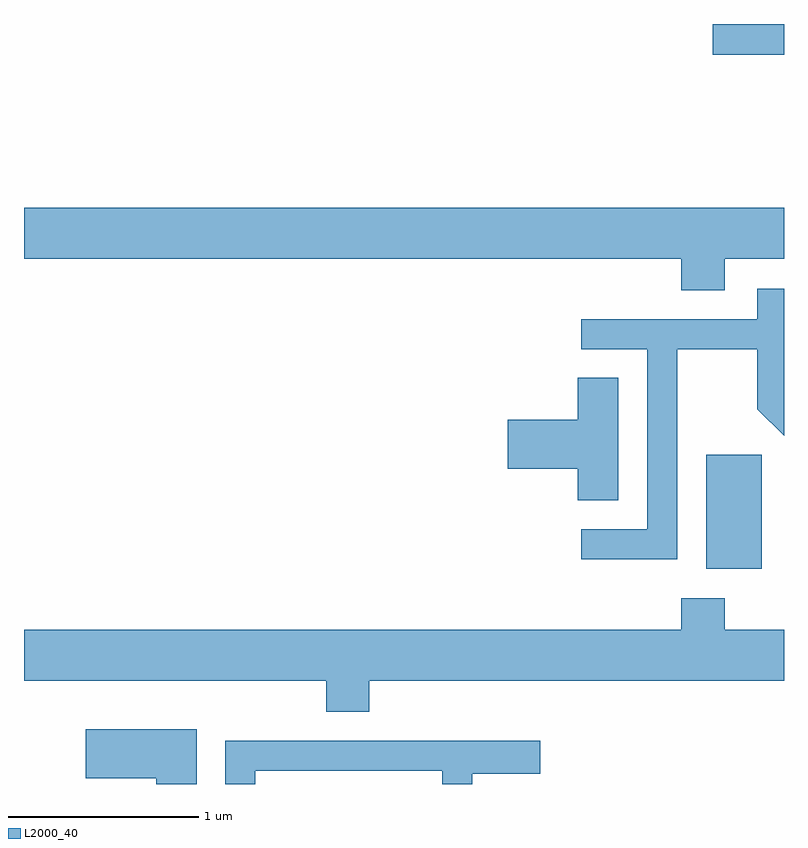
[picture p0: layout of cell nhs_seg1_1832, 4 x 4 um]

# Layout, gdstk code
import gdstk
lib = gdstk.Library(unit=1e-6, precision=1e-09)
def R(c, l, rs):  # rectangles x0, y0, x1, y1
    for r in rs: c.add(gdstk.rectangle(r[:2], r[2:], *l))
def P(c, l, *ps):  # polygons
    for p in ps: c.add(gdstk.Polygon(p, *l))
L2000_40 = (2000, 40)

nhs_seg1_1832 = lib.new_cell('nhs_seg1_1832')
R(nhs_seg1_1832, L2000_40, [(245.201,886.846,245.494,887.444), (245.236,889.551,245.611,889.712)])
P(nhs_seg1_1832, L2000_40, [(245.299,888.476),(245.611,888.476),(245.611,888.744),(241.611,888.744),(241.611,888.476),(245.071,888.476),(245.071,888.311),(245.299,888.311)],
  [(245.049,888.001),(245.471,888.001),(245.471,887.684),(245.611,887.544),(245.611,888.319),(245.471,888.319),(245.471,888.159),(244.543,888.159),(244.543,888.001),(244.891,888.001),(244.891,887.054),(244.543,887.054),(244.543,886.896),(245.049,886.896)],
  [(244.739,887.849),(244.526,887.849),(244.526,887.629),(244.156,887.629),(244.156,887.371),(244.526,887.371),(244.526,887.206),(244.739,887.206)],
  [(243.429,886.256),(245.611,886.256),(245.611,886.524),(245.299,886.524),(245.299,886.689),(245.071,886.689),(245.071,886.524),(241.611,886.524),(241.611,886.256),(243.201,886.256),(243.201,886.091),(243.429,886.091)],
  [(242.519,885.999),(241.936,885.999),(241.936,885.741),(242.306,885.741),(242.306,885.712),(242.519,885.712)],
  [(242.829,885.781),(243.811,885.781),(243.811,885.712),(243.969,885.712),(243.969,885.766),(244.329,885.766),(244.329,885.939),(242.671,885.939),(242.671,885.712),(242.829,885.712)])

lib.write_gds('nhs_seg1_1832.gds')
